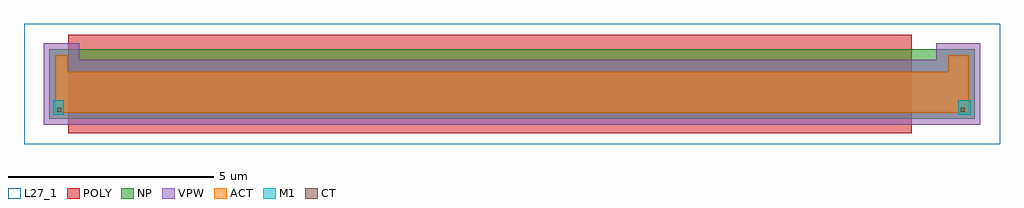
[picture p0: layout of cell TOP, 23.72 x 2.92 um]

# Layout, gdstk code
import gdstk
lib = gdstk.Library(unit=1e-6, precision=1e-09)
def R(c, l, rs):  # rectangles x0, y0, x1, y1
    for r in rs: c.add(gdstk.rectangle(r[:2], r[2:], *l))
def P(c, l, *ps):  # polygons
    for p in ps: c.add(gdstk.Polygon(p, *l))
ACT = (2, 1)
L27_1 = (27, 1)
POLY = (41, 1)
NP = (52, 1)
CT = (72, 1)
M1 = (81, 1)
VPW = (261, 12)

top = lib.new_cell('TOP')
P(top, ACT, [(0,0),(0,1.4),(0.3,1.4),(0.3,1),(21.7,1),(21.7,1.4),(22.2,1.4),(22.2,0)])
R(top, L27_1, [(-0.76,-0.76,22.96,2.16)])
R(top, POLY, [(0.32,-0.5,20.82,1.9)])
R(top, NP, [(-0.15,-0.15,22.35,1.55)])
R(top, CT, [(0.05,0.03,0.14,0.12), (22.01,0.03,22.1,0.12)])
R(top, M1, [(-0.05,-0.05,0.2,0.3), (21.95,-0.05,22.25,0.3)])
P(top, VPW, [(-0.285,-0.285),(-0.285,1.685),(0.585,1.685),(0.585,1.285),(21.415,1.285),(21.415,1.685),(22.485,1.685),(22.485,-0.285)])

lib.write_gds('TOP.gds')
